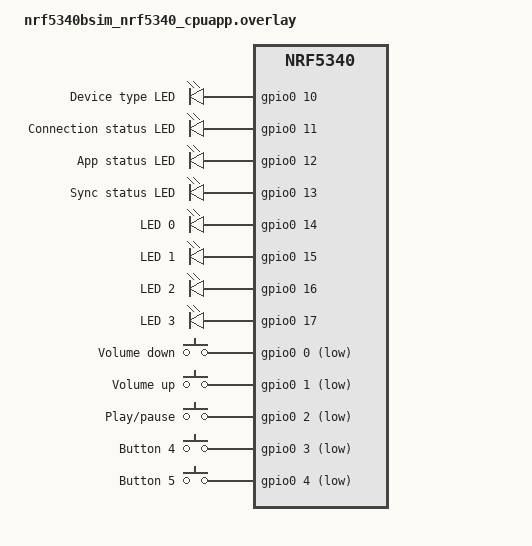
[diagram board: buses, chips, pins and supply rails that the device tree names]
/*
 * Copyright (c) 2026 Nordic Semiconductor ASA
 *
 * SPDX-License-Identifier: LicenseRef-Nordic-5-Clause
 */

/* BabbleSim models no LEDs or buttons; these virtual GPIOs let the unmodified app build and run. */

#include <zephyr/dt-bindings/gpio/gpio.h>

/ {
	audioleds: audioleds {
		compatible = "gpio-leds";
		status = "okay";

		led_device_type: led_device_type {
			gpios = <&gpio0 10 GPIO_ACTIVE_HIGH>;
			label = "Device type LED";
		};

		led_conn_status: led_conn_status {
			gpios = <&gpio0 11 GPIO_ACTIVE_HIGH>;
			label = "Connection status LED";
		};

		led_app_status: led_app_status {
			gpios = <&gpio0 12 GPIO_ACTIVE_HIGH>;
			label = "App status LED";
		};

		led_sync_status: led_sync_status {
			gpios = <&gpio0 13 GPIO_ACTIVE_HIGH>;
			label = "Sync status LED";
		};
	};

	leds {
		compatible = "gpio-leds";
		status = "okay";

		led0: led_0 {
			gpios = <&gpio0 14 GPIO_ACTIVE_HIGH>;
			label = "LED 0";
		};

		led1: led_1 {
			gpios = <&gpio0 15 GPIO_ACTIVE_HIGH>;
			label = "LED 1";
		};

		led2: led_2 {
			gpios = <&gpio0 16 GPIO_ACTIVE_HIGH>;
			label = "LED 2";
		};

		led3: led_3 {
			gpios = <&gpio0 17 GPIO_ACTIVE_HIGH>;
			label = "LED 3";
		};
	};

	buttons {
		compatible = "gpio-keys";
		status = "okay";

		button0: button_0 {
			gpios = <&gpio0 0 (GPIO_PULL_UP | GPIO_ACTIVE_LOW)>;
			label = "Volume down";
		};

		button1: button_1 {
			gpios = <&gpio0 1 (GPIO_PULL_UP | GPIO_ACTIVE_LOW)>;
			label = "Volume up";
		};

		button2: button_2 {
			gpios = <&gpio0 2 (GPIO_PULL_UP | GPIO_ACTIVE_LOW)>;
			label = "Play/pause";
		};

		button3: button_3 {
			gpios = <&gpio0 3 (GPIO_PULL_UP | GPIO_ACTIVE_LOW)>;
			label = "Button 4";
		};

		button4: button_4 {
			gpios = <&gpio0 4 (GPIO_PULL_UP | GPIO_ACTIVE_LOW)>;
			label = "Button 5";
		};
	};

	aliases {
		sw0 = &button0;
		sw1 = &button1;
		sw2 = &button2;
		sw3 = &button3;
		sw4 = &button4;
	};
};
